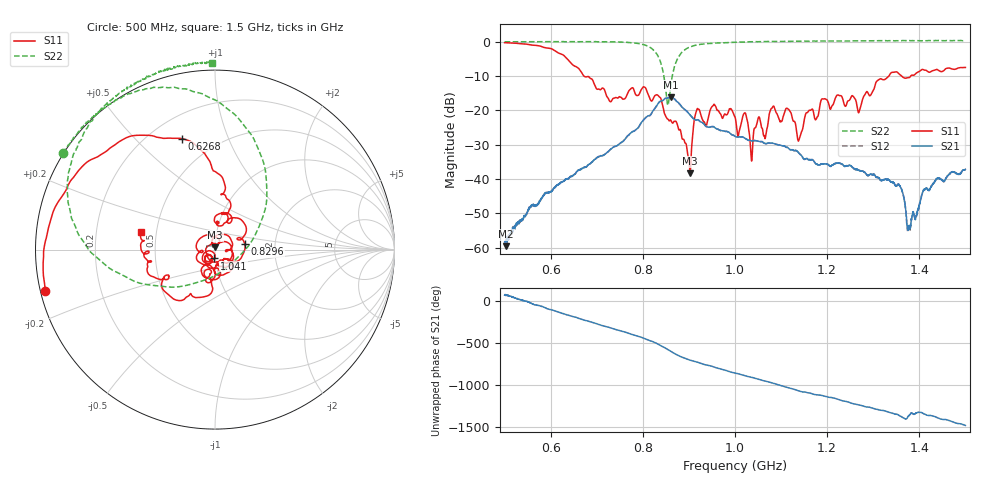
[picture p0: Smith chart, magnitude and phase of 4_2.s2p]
!Keysight Technologies,N5242B,MY48420860,A.13.80.08
!Date: Saturday, September 26, 2020 12:17:24
!Correction: S11(Full 2 Port(1,2))
!S21(Full 2 Port(1,2))
!S12(Full 2 Port(1,2))
!S22(Full 2 Port(1,2))
!S2P File: Measurements: S11, S21, S12, S22:
# Hz S  dB  R 50
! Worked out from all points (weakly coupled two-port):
!   2650 points, 500 MHz to 1.5 GHz, reference 50 ohm
!   highest |S21| = -16.15 dB at 860.5 MHz (marker M1); lowest = -59.6 dB at 503.4 MHz (marker M2)
!   lowest |S11| = -38.3 dB at 902.4 MHz (marker M3), VSWR 1.02, Z = 50.1 + j1.21 ohm
!   |S11| at or under -10 dB: 672.5 MHz to 1.334 GHz (661.5 MHz wide, 65.9 % of centre); 1.362 GHz to 1.381 GHz (19.29 MHz wide, 1.41 % of centre)
!   |S22| runs from -18.5 to 0.4 dB; largest |S21 - S12| = 0.00058
!   S11 on the Smith chart (normalised r, x): 500 MHz: 0.01, -0.12; 626.8 MHz: 0.33, +0.69; 829.6 MHz: 1.40, +0.09; 1.041 GHz: 0.99, -0.10; 1.5 GHz: 0.41, +0.10
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5e8  -0.24 -166.3  -58.48 64.1  -59.34 68.8  0.02 147.7
5.033975e8  -0.27 -168.1  -59.59 66.0  -57.93 69.8  0.02 147.5
6.268403e8  -3.80 106.7  -40.67 -156.1  -40.85 -155.6  0.07 137.5
6.668554e8  -8.88 81.0  -37.01 137.4  -37.03 137.9  0.04 133.1
7.665157e8  -15.20 90.8  -27.46 -23.7  -27.48 -23.8  -0.15 115.8
8.295583e8  -15.44 10.1  -18.72 -147.8  -18.74 -148.0  -3.40 72.9
8.337108e8  -15.74 -3.3  -17.85 -159.6  -17.86 -159.7  -4.37 66.2
8.529634e8  -22.43 -41.2  -16.39 141.7  -16.41 141.6  -17.81 -24.3
8.605134e8  -22.84 -52.5  -16.15 117.4  -16.17 117.2  -12.79 -123.6
9.02416e8  -38.33 84.8  -21.31 11.4  -21.32 11.3  -1.48 164.0
9.186485e8  -19.43 41.7  -22.72 -12.4  -22.74 -12.6  -0.86 155.3
1.000189e9  -22.01 -134.5  -27.52 -142.6  -27.55 -142.6  -0.13 136.1
1.040581e9  -26.13 -95.9  -28.81 161.7  -28.83 161.7  0.02 131.1
1.081351e9  -19.10 -139.4  -29.55 100.0  -29.56 99.8  0.11 126.5
1.138732e9  -28.65 63.9  -32.47 5.7  -32.44 5.8  0.16 121.1
1.166667e9  -19.66 -36.0  -34.29 -26.0  -34.41 -25.8  0.19 118.7
1.269724e9  -20.19 -101.0  -37.52 -161.2  -37.58 -161.9  0.29 110.2
1.333522e9  -10.06 -121.3  -40.17 114.6  -40.21 114.1  0.35 105.0
1.360325e9  -9.79 -151.7  -42.82 62.2  -42.67 62.2  0.32 102.7
1.37769e9  -10.46 -149.2  -53.90 70.7  -53.89 75.7  0.37 101.6
1.411287e9  -8.25 -165.8  -43.14 90.8  -43.03 89.1  0.36 98.5
1.5e9  -7.48 166.5  -37.17 -43.6  -37.22 -42.5  0.34 90.8
